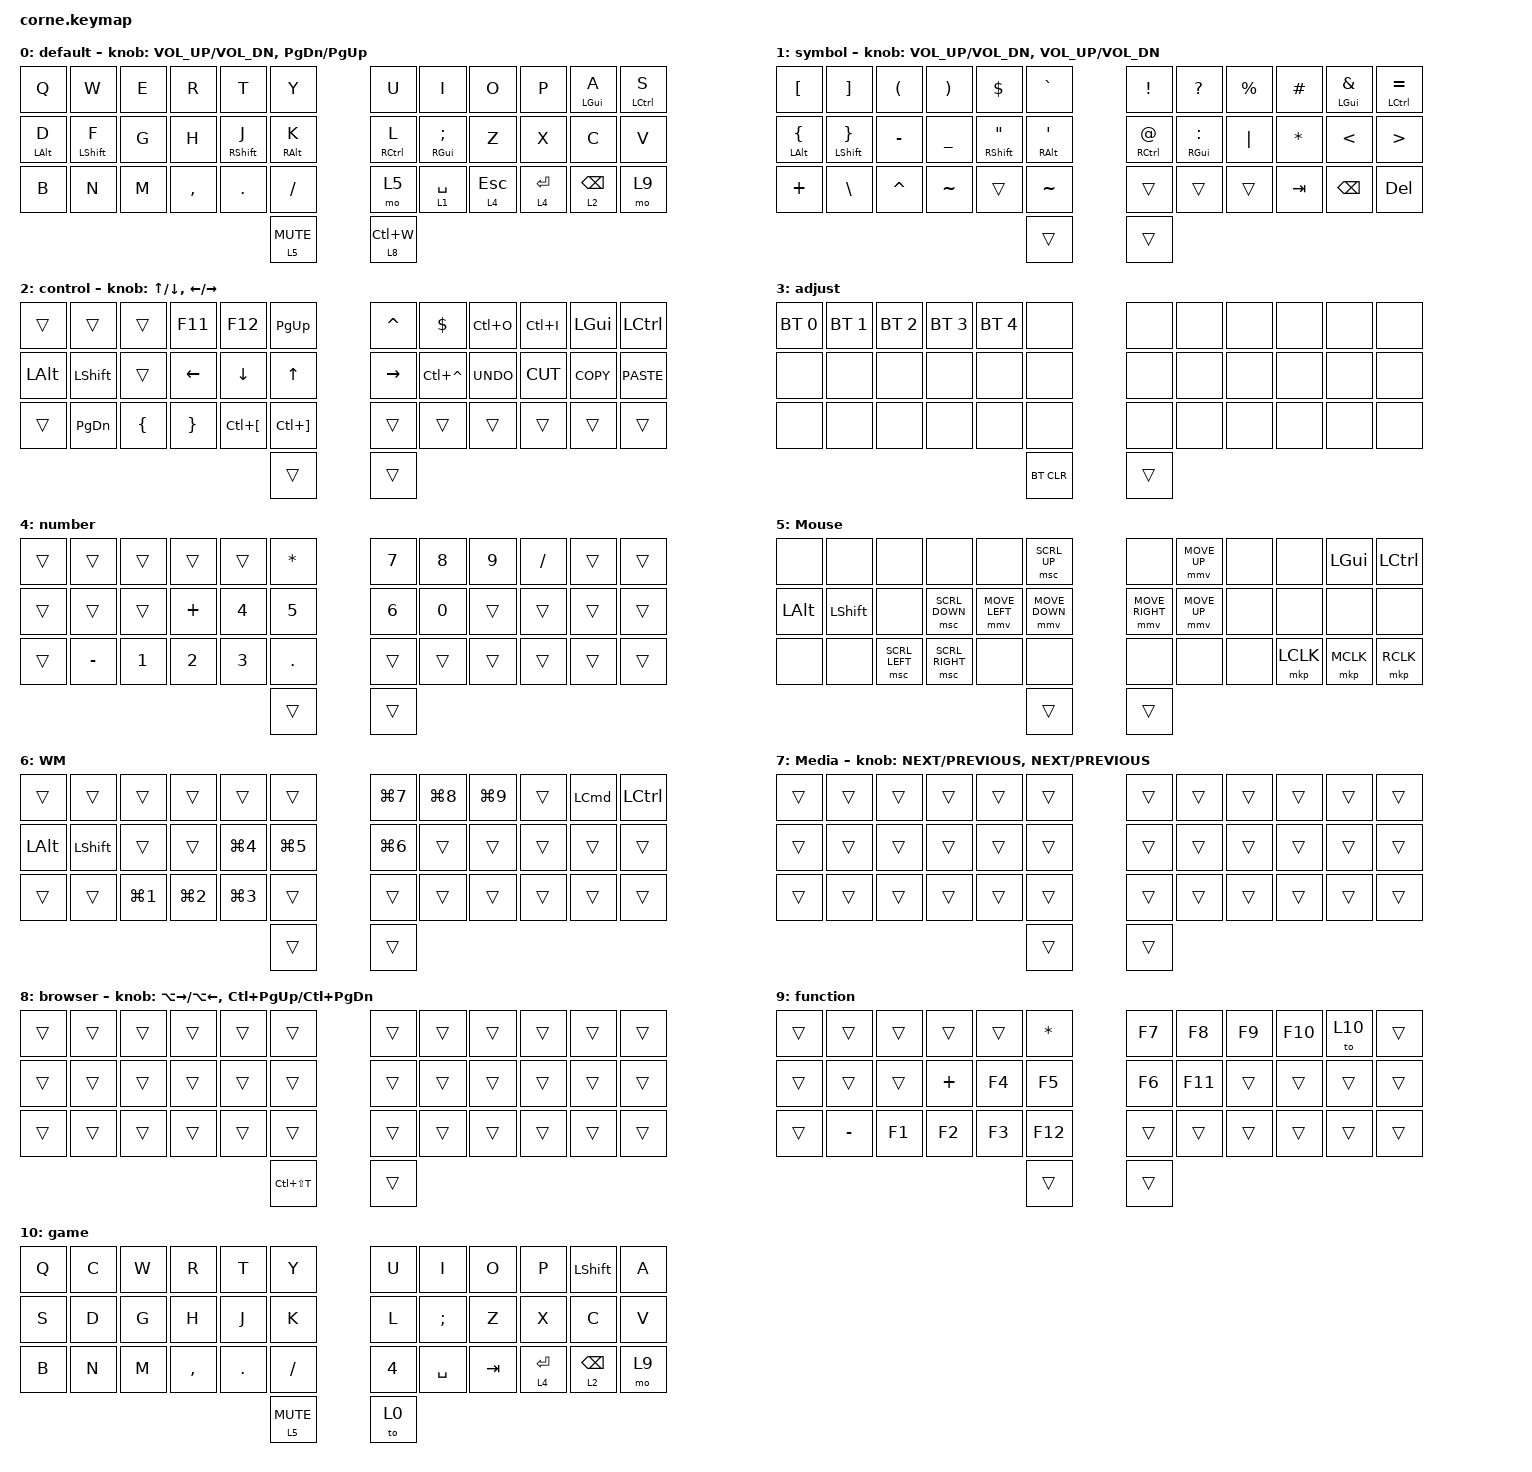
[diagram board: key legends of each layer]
#include "zmk-helpers/key-labels/36.h"
#include <behaviors/num_word.dtsi>

#define KEYS_L LT0 LT1 LT2 LT3 LT4 LM0 LM1 LM2 LM3 LM4 LB0 LB1 LB2 LB3 LB4
#define KEYS_R RT0 RT1 RT2 RT3 RT4 RM0 RM1 RM2 RM3 RM4 RB0 RB1 RB2 RB3 RB4
#define KEYS_T LH2 LH1 LH0 RH0 RH1 RH2
#define ZMK_MOUSE_DEFAULT_MOVE_VAL 2250
#define U_MOUSE_MOVE_EXPONENT 2
#define U_MOUSE_MOVE_TIME 650
#define U_MOUSE_MOVE_DELAY 0
#define ZMK_MOUSE_DEFAULT_SCRL_VAL 100
#define U_MOUSE_SCROLL_EXPONENT 1
#define U_MOUSE_SCROLL_TIME 5000
#define U_MOUSE_SCROLL_DELAY 0

#include <behaviors.dtsi>
#include <dt-bindings/zmk/bt.h>
#include <dt-bindings/zmk/keys.h>
#include <dt-bindings/zmk/pointing.h>

#define BASE 0
#define LOWER 1
#define RAISE 2
#define ADJUST 3
#define HM_TAPPING_TERM 300
#define HM_TAPPING_TERM_FAST 200
#define HM_PRIOR_IDLE 150

/ {
    chosen {
        zmk,kscan = &kscan_composite;
        zmk,matrix_transform = &encoder_transform;
    };

    conditional_layers {
        compatible = "zmk,conditional-layers";

        adjust_layer {
            if-layers = <1 2>;
            then-layer = <3>;
        };
    };

    behaviors {
        mmv {
            acceleration-exponent = <1>;      // 1
            time-to-max-speed-ms = <900>;    // 40
            delay-ms = <0>;                   // 0
        };

        msc {
            acceleration-exponent = <1>;      // 0
            time-to-max-speed-ms = <400>;      // 500
            delay-ms = <0>;                   //   10
        };

        hm_l: homerow_mods_left {
            compatible = "zmk,behavior-hold-tap";
            #binding-cells = <2>;
            bindings = <&kp>, <&kp>;

            flavor = "balanced";
            tapping-term-ms = <HM_TAPPING_TERM>;
            quick-tap-ms = <175>;                // repeat on tap-into-hold
            require-prior-idle-ms = <HM_PRIOR_IDLE>;
            hold-trigger-key-positions = <KEYS_R KEYS_T>;
            hold-trigger-on-release;
        };

        hm_r: homerow_mods_right {
            compatible = "zmk,behavior-hold-tap";
            #binding-cells = <2>;
            bindings = <&kp>, <&kp>;

            flavor = "balanced";
            tapping-term-ms = <HM_TAPPING_TERM>;
            quick-tap-ms = <175>;
            require-prior-idle-ms = <HM_PRIOR_IDLE>;
            hold-trigger-key-positions = <KEYS_L KEYS_T>;
            hold-trigger-on-release;
        };

        hm_shift_l: hm_shift_l {
            compatible = "zmk,behavior-hold-tap";
            #binding-cells = <2>;
            bindings = <&kp>, <&kp>;

            flavor = "balanced";
            tapping-term-ms = <HM_TAPPING_TERM_FAST>;
            quick-tap-ms = <175>;
            require-prior-idle-ms = <HM_PRIOR_IDLE>;
            hold-trigger-key-positions = <KEYS_R KEYS_T>;

            // hold-trigger-on-release;
        };

        hm_shift_r: hm_shift_r {
            compatible = "zmk,behavior-hold-tap";
            #binding-cells = <2>;
            bindings = <&kp>, <&kp>;

            flavor = "balanced";
            tapping-term-ms = <HM_TAPPING_TERM_FAST>;
            quick-tap-ms = <175>;
            require-prior-idle-ms = <HM_PRIOR_IDLE>;
            hold-trigger-key-positions = <KEYS_L KEYS_T>;

            // hold-trigger-on-release;
        };

        /*
         * Non-Positional Homerow Mods
         * Used for &mm_grescm_gui behavior on left hand.
         *
         * Usage: &hm LSHFT T
         * Tap: T
         * Tap-Tap-Hold: Repeat T
         * Hold: LSHIFT
         */

        hm: homerow_mods {
            compatible = "zmk,behavior-hold-tap";
            #binding-cells = <2>;
            bindings = <&kp>, <&kp>;

            flavor = "balanced";
            tapping-term-ms = <HM_TAPPING_TERM>;
            quick-tap-ms = <200>;
        };
    };

    sensors: sensors {
        compatible = "zmk,keymap-sensors";
        sensors = <&encoder_left &encoder_right>;
    };

    keymap {
        compatible = "zmk,keymap";

        default_layer {
            display-name = "default";
            bindings = <
&kp Q         &kp W                &kp E  &kp R         &kp T                &kp Y                &kp U          &kp I            &kp O         &kp P        &hm_l LGUI A  &hm_l LCTRL S
&hm_l LALT D  &hm_shift_l LSHFT F  &kp G  &kp H         &hm_shift_r RSHFT J  &hm_r RIGHT_ALT K    &hm_r RCTRL L  &hm_r RGUI SEMI  &kp Z         &kp X        &kp C         &kp V
&kp B         &kp N                &kp M  &kp COMMA     &kp DOT              &kp FSLH             &mo 5          &lt 1 SPACE      &lt 4 ESCAPE  &lt 4 ENTER  &lt 2 BSPC    &mo 9
                                          &lt 5 C_MUTE  &lt 8 LC(W)
            >;

            sensor-bindings =
                <&inc_dec_kp C_VOL_UP C_VOL_DN>,
                <&inc_dec_kp PAGE_DOWN PG_UP>;
        };

        lower_layer {
            display-name = "symbol";
            bindings = <
&kp LBKT             &kp RBKT                 &kp LPAR   &kp RPAR   &kp DOLLAR                       &kp GRAVE                  &kp EXCL        &kp QUESTION      &kp PERCENT  &kp POUND  &hm_l LGUI AMPS  &hm_l LCTRL EQUAL
&hm_l LEFT_ALT LBRC  &hm_shift_l LSHIFT RBRC  &kp MINUS  &kp UNDER  &hm_shift_r RSHFT DOUBLE_QUOTES  &hm_r RALT SINGLE_QUOTE    &hm_r RCTRL AT  &hm_r RGUI COLON  &kp PIPE     &kp ASTRK  &kp LESS_THAN    &kp GREATER_THAN
&kp PLUS             &kp BACKSLASH            &kp CARET  &kp TILDE  &trans                           &kp TILDE                  &trans          &trans            &trans       &kp TAB    &kp BACKSPACE    &kp DEL
                                                         &trans     &trans
            >;

            sensor-bindings =
                <&inc_dec_kp C_VOL_UP C_VOL_DN >,
                <&inc_dec_kp C_VOL_UP C_VOL_DN >;
        };

        raise_layer {
            display-name = "control";
            bindings = <
&trans        &trans         &trans          &kp F11          &kp F12               &kp PG_UP                &kp CARET  &kp DOLLAR     &kp LC(O)   &kp LC(I)  &kp LGUI    &kp LCTRL
&kp LEFT_ALT  &kp LSHIFT     &trans          &kp LEFT         &kp DOWN              &kp UP                   &kp RIGHT  &kp LC(CARET)  &kp K_UNDO  &kp K_CUT  &kp K_COPY  &kp K_PASTE
&trans        &kp PAGE_DOWN  &kp LEFT_BRACE  &kp RIGHT_BRACE  &kp LC(LEFT_BRACKET)  &kp LC(RIGHT_BRACKET)    &trans     &trans         &trans      &trans     &trans      &trans
                                             &trans           &trans
            >;

            sensor-bindings =
                <&inc_dec_kp UP_ARROW DOWN >,
                <&inc_dec_kp LEFT RIGHT>;
        };

        adjust_layer {
            display-name = "adjust";
            bindings = <
&bt BT_SEL 0  &bt BT_SEL 1  &bt BT_SEL 2  &bt BT_SEL 3  &bt BT_SEL 4  &none    &none  &none  &none  &none  &none  &none
&none         &none         &none         &none         &none         &none    &none  &none  &none  &none  &none  &none
&none         &none         &none         &none         &none         &none    &none  &none  &none  &none  &none  &none
                                          &bt BT_CLR    &trans
            >;
        };

        number {
            bindings = <
&trans  &trans     &trans        &trans        &trans        &kp ASTERISK    &kp N7        &kp N8  &kp N9  &kp SLASH  &trans  &trans
&trans  &trans     &trans        &kp PLUS      &kp NUMBER_4  &kp N5          &kp NUMBER_6  &kp N0  &trans  &trans     &trans  &trans
&trans  &kp MINUS  &kp NUMBER_1  &kp NUMBER_2  &kp NUMBER_3  &kp DOT         &trans        &trans  &trans  &trans     &trans  &trans
                                 &trans        &trans
            >;

            label = "number";
        };

        mouse {
            bindings = <
&none         &none      &none           &none            &none           &msc SCRL_UP      &none            &mmv MOVE_UP  &none  &none      &kp LGUI   &kp LCTRL
&kp LEFT_ALT  &kp LSHFT  &none           &msc SCRL_DOWN   &mmv MOVE_LEFT  &mmv MOVE_DOWN    &mmv MOVE_RIGHT  &mmv MOVE_UP  &none  &none      &none      &none
&none         &none      &msc SCRL_LEFT  &msc SCRL_RIGHT  &none           &none             &none            &none         &none  &mkp LCLK  &mkp MCLK  &mkp RCLK
                                         &trans           &trans
            >;

            label = "Mouse";
        };

        WM {
            bindings = <
&trans        &trans      &trans            &trans            &trans            &trans        &kp LG(N7)        &kp LG(N8)  &kp LG(N9)  &trans  &kp LCMD  &kp LCTRL
&kp LEFT_ALT  &kp LSHIFT  &trans            &trans            &kp LG(NUMBER_4)  &kp LG(N5)    &kp LG(NUMBER_6)  &trans      &trans      &trans  &trans    &trans
&trans        &trans      &kp LG(NUMBER_1)  &kp LG(NUMBER_2)  &kp LG(NUMBER_3)  &trans        &trans            &trans      &trans      &trans  &trans    &trans
                                            &trans            &trans
            >;

            label = "WM";
        };

        Media {
            bindings = <
&trans  &trans  &trans  &trans  &trans  &trans    &trans  &trans  &trans  &trans  &trans  &trans
&trans  &trans  &trans  &trans  &trans  &trans    &trans  &trans  &trans  &trans  &trans  &trans
&trans  &trans  &trans  &trans  &trans  &trans    &trans  &trans  &trans  &trans  &trans  &trans
                        &trans  &trans
            >;

            sensor-bindings =
                <&inc_dec_kp K_NEXT K_PREVIOUS >,
                <&inc_dec_kp K_NEXT K_PREVIOUS >;

            label = "Media";
        };

        browser {
            bindings = <
&trans  &trans  &trans  &trans         &trans  &trans    &trans  &trans  &trans  &trans  &trans  &trans
&trans  &trans  &trans  &trans         &trans  &trans    &trans  &trans  &trans  &trans  &trans  &trans
&trans  &trans  &trans  &trans         &trans  &trans    &trans  &trans  &trans  &trans  &trans  &trans
                        &kp LC(LS(T))  &trans
            >;

            label = "browser";
            sensor-bindings =
                <&inc_dec_kp LA(RIGHT_ARROW) LA(LEFT_ARROW)>,
                <&inc_dec_kp LC(PG_UP) LC(PAGE_DOWN)>;
        };

        function {
            bindings = <
&trans  &trans     &trans  &trans    &trans  &kp ASTERISK    &kp F7  &kp F8   &kp F9  &kp F10  &to 10  &trans
&trans  &trans     &trans  &kp PLUS  &kp F4  &kp F5          &kp F6  &kp F11  &trans  &trans   &trans  &trans
&trans  &kp MINUS  &kp F1  &kp F2    &kp F3  &kp F12         &trans  &trans   &trans  &trans   &trans  &trans
                           &trans    &trans
            >;

            label = "function";
        };

        game {
            bindings = <
&kp Q  &kp C  &kp W  &kp R         &kp T    &kp Y       &kp U         &kp I      &kp O    &kp P        &kp LSHIFT  &kp A
&kp S  &kp D  &kp G  &kp H         &kp J    &kp K       &kp L         &kp SEMI   &kp Z    &kp X        &kp C       &kp V
&kp B  &kp N  &kp M  &kp COMMA     &kp DOT  &kp FSLH    &kp NUMBER_4  &kp SPACE  &kp TAB  &lt 4 ENTER  &lt 2 BSPC  &mo 9
                     &lt 5 C_MUTE  &to 0
            >;

            label = "game";
        };
    };
};
